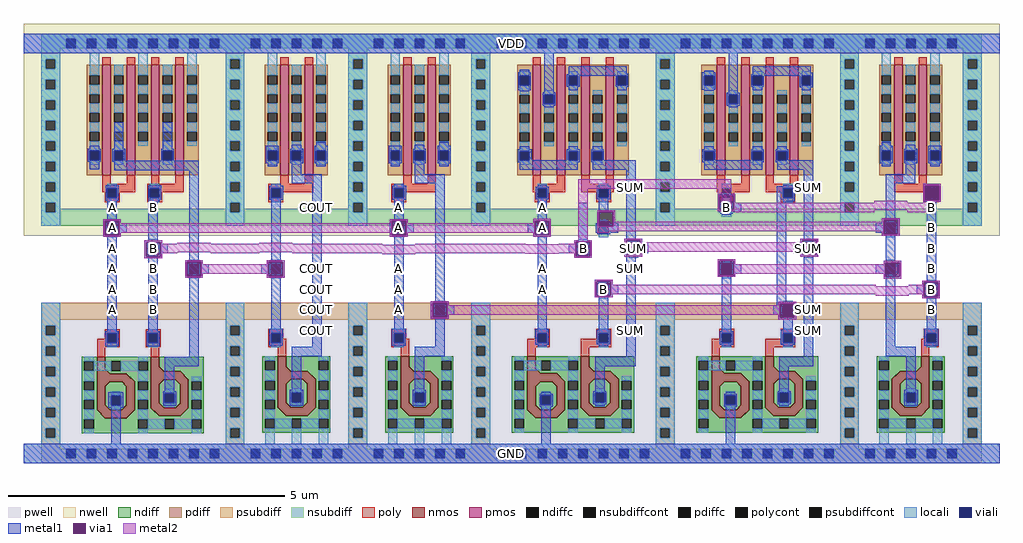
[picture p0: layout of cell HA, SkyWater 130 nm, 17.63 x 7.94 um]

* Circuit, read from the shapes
.subckt HA SUM COUT A B VDD GND
XM1 n1 A GND GND sky130_fd_pr__nfet_01v8 w=2.6 l=0.1483
XM2 n1 B n2 GND sky130_fd_pr__nfet_01v8 w=2.56 l=0.1467
XM3 GND n2 COUT GND sky130_fd_pr__nfet_01v8 w=2.56 l=0.1485
XM4 GND A n3 GND sky130_fd_pr__nfet_01v8 w=2.56 l=0.1464
XM5 n4 A GND GND sky130_fd_pr__nfet_01v8 w=2.6 l=0.1441
XM6 n4 B SUM GND sky130_fd_pr__nfet_01v8 w=2.56 l=0.1465
XM7 n5 n6 GND GND sky130_fd_pr__nfet_01v8 w=2.6 l=0.1486
XM8 n5 n3 SUM GND sky130_fd_pr__nfet_01v8 w=2.56 l=0.1469
XM9 GND B n6 GND sky130_fd_pr__nfet_01v8 w=2.56 l=0.148
XM10 n2 A VDD VDD sky130_fd_pr__pfet_01v8 w=2 l=0.15 m=2
XM11 n2 B VDD VDD sky130_fd_pr__pfet_01v8 w=2 l=0.15 m=2
XM12 COUT n2 VDD VDD sky130_fd_pr__pfet_01v8 w=2 l=0.15 m=2
XM13 n3 A VDD VDD sky130_fd_pr__pfet_01v8 w=2 l=0.15 m=2
XM14 VDD A n7 VDD sky130_fd_pr__pfet_01v8 w=2 l=0.15 m=2
XM15 SUM n6 n7 VDD sky130_fd_pr__pfet_01v8 w=2 l=0.15 m=2
XM16 VDD B n8 VDD sky130_fd_pr__pfet_01v8 w=2 l=0.15 m=2
XM17 SUM n3 n8 VDD sky130_fd_pr__pfet_01v8 w=2 l=0.15 m=2
XM18 n6 B VDD VDD sky130_fd_pr__pfet_01v8 w=2 l=0.15 m=2
.ends

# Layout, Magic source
magic
tech sky130A
magscale 1 2
<< nwell >>
rect 0 895 3526 1588
rect 0 880 1989 895
rect 2001 880 3526 895
rect 0 822 3526 880
<< pwell >>
rect 155 19 189 53
rect 64 0 3462 10
<< psubdiff >>
rect 64 0 3462 10
<< nsubdiff >>
rect 64 1546 3462 1552
<< locali >>
rect 0 1482 3526 1552
rect 0 0 3526 70
<< metal1 >>
rect 0 1482 3526 1552
rect 2177 981 2211 1015
rect 2819 981 2853 1015
rect 303 907 337 941
rect 451 907 485 941
rect 1043 907 1077 941
rect 1339 907 1373 941
rect 1857 907 1891 941
rect 288 876 352 882
rect 288 824 294 876
rect 346 824 352 876
rect 1339 833 1373 867
rect 1857 833 1891 867
rect 288 818 352 824
rect 2005 806 2039 941
rect 2523 907 2557 941
rect 3263 907 3297 941
rect 3263 833 3297 867
rect 437 799 501 805
rect 303 759 337 793
rect 437 747 443 799
rect 495 747 501 799
rect 437 741 501 747
rect 1989 800 2053 806
rect 1989 748 1995 800
rect 2047 748 2053 800
rect 2187 759 2221 793
rect 2819 759 2853 793
rect 3263 759 3297 793
rect 1989 742 2053 748
rect 303 685 337 719
rect 451 685 485 719
rect 1043 685 1077 719
rect 1339 685 1373 719
rect 1857 685 1891 719
rect 2177 685 2211 719
rect 3263 685 3297 719
rect 303 611 337 645
rect 451 611 485 645
rect 1043 611 1077 645
rect 1339 611 1373 645
rect 1857 611 1891 645
rect 2079 611 2113 645
rect 3263 611 3297 645
rect 303 537 337 571
rect 451 537 485 571
rect 1043 537 1077 571
rect 1339 537 1373 571
rect 2819 537 2853 571
rect 3263 537 3297 571
rect 1043 463 1077 497
rect 2177 463 2211 497
rect 2819 463 2853 497
rect 0 0 3526 70
<< via1 >>
rect 294 824 346 876
rect 443 747 495 799
rect 1995 748 2047 800
<< metal2 >>
rect 2005 992 2557 1026
rect 288 876 352 882
rect 288 824 294 876
rect 346 867 352 876
rect 346 833 1327 867
rect 346 824 352 833
rect 288 818 352 824
rect 2005 806 2039 992
rect 2508 965 2557 992
rect 2523 931 2557 965
rect 437 799 501 805
rect 437 747 443 799
rect 495 793 501 799
rect 1989 800 2053 806
rect 556 793 676 796
rect 851 793 971 796
rect 1989 793 1995 800
rect 495 790 1296 793
rect 1416 791 1813 793
rect 1933 791 1995 793
rect 1416 790 1995 791
rect 495 762 1995 790
rect 495 759 556 762
rect 676 759 851 762
rect 971 759 1995 762
rect 495 747 501 759
rect 1296 756 1416 759
rect 1813 757 1933 759
rect 437 741 501 747
rect 1989 748 1995 759
rect 2047 748 2053 800
rect 1989 742 2053 748
use and2x1_pcell  and2x1_pcell_0
transform 1 0 98 0 1 36
box -87 -34 1197 1550
use li1_M1_contact  li1_M1_contact_0
transform -1 0 468 0 -1 776
box -53 -33 29 33
use li1_M1_contact  li1_M1_contact_1
transform -1 0 320 0 -1 850
box -53 -33 29 33
use li1_M1_contact  li1_M1_contact_2
transform 1 0 2022 0 1 776
box -53 -33 29 33
use xor2X1_pcell  xor2X1_pcell_0
transform 1 0 1208 0 1 36
box -87 -34 2307 1550
<< labels >>
rlabel metal1 2819 759 2853 793 1 SUM
port 1 nsew signal output
rlabel metal1 2819 463 2853 497 1 SUM
port 1 nsew signal output
rlabel metal1 2819 537 2853 571 1 SUM
port 1 nsew signal output
rlabel metal1 2819 981 2853 1015 1 SUM
port 1 nsew signal output
rlabel metal1 1043 537 1077 571 1 COUT
port 2 nsew signal output
rlabel metal1 1043 463 1077 497 1 COUT
port 2 nsew signal output
rlabel metal1 1043 685 1077 719 1 COUT
port 2 nsew signal output
rlabel metal1 1043 907 1077 941 1 COUT
port 2 nsew signal output
rlabel metal1 1043 611 1077 645 1 COUT
port 2 nsew signal output
rlabel metal1 303 833 337 867 1 A
port 3 nsew signal input
rlabel metal1 303 907 337 941 1 A
port 3 nsew signal input
rlabel metal1 303 759 337 793 1 A
port 3 nsew signal input
rlabel metal1 303 685 337 719 1 A
port 3 nsew signal input
rlabel metal1 303 611 337 645 1 A
port 3 nsew signal input
rlabel metal1 303 537 337 571 1 A
port 3 nsew signal input
rlabel metal1 1339 907 1373 941 1 A
port 3 nsew signal input
rlabel metal1 1339 833 1373 867 1 A
port 3 nsew signal input
rlabel metal1 1339 685 1373 719 1 A
port 3 nsew signal input
rlabel metal1 1339 611 1373 645 1 A
port 3 nsew signal input
rlabel metal1 1339 537 1373 571 1 A
port 3 nsew signal input
rlabel metal1 1857 907 1891 941 1 A
port 3 nsew signal input
rlabel metal1 1857 833 1891 867 1 A
port 3 nsew signal input
rlabel metal1 1857 685 1891 719 1 A
port 3 nsew signal input
rlabel metal1 1857 611 1891 645 1 A
port 3 nsew signal input
rlabel metal1 451 759 485 793 1 B
port 4 nsew signal input
rlabel metal1 451 685 485 719 1 B
port 4 nsew signal input
rlabel metal1 451 611 485 645 1 B
port 4 nsew signal input
rlabel metal1 451 537 485 571 1 B
port 4 nsew signal input
rlabel metal1 451 907 485 941 1 B
port 4 nsew signal input
rlabel metal1 2005 759 2039 793 1 B
port 4 nsew signal input
rlabel metal1 3263 759 3297 793 1 B
port 4 nsew signal input
rlabel metal1 2079 611 2113 645 1 B
port 4 nsew signal input
rlabel metal1 3263 611 3297 645 1 B
port 4 nsew signal input
rlabel metal1 3263 685 3297 719 1 B
port 4 nsew signal input
rlabel metal1 3263 537 3297 571 1 B
port 4 nsew signal input
rlabel metal1 3263 833 3297 867 1 B
port 4 nsew signal input
rlabel metal1 3263 907 3297 941 1 B
port 4 nsew signal input
rlabel metal1 2523 907 2557 941 1 B
port 4 nsew signal input
rlabel metal1 0 1482 3526 1552 1 VDD
port 5 nsew power bidirectional abutment
rlabel metal1 0 0 3526 70 1 GND
port 6 nsew ground bidirectional abutment
rlabel metal1 2177 685 2211 719 1 SUM
port 1 nsew signal output
rlabel metal1 2177 463 2211 497 1 SUM
port 1 nsew signal output
rlabel metal1 2177 981 2211 1015 1 SUM
port 1 nsew signal output
rlabel metal1 2187 759 2221 793 1 SUM
port 1 nsew signal output
<< properties >>
string FIXED_BBOX 0 0 3526 1552
string LEFclass CORE
string LEFsite unitrh
string LEFsymmetry X Y
<< end >>

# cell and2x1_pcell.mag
magic
tech sky130A
magscale 1 2
<< metal1 >>
rect 486 692 550 698
rect 486 640 492 692
rect 544 640 550 692
rect 486 634 550 640
rect 781 692 845 698
rect 781 640 787 692
rect 839 640 845 692
rect 781 634 845 640
<< via1 >>
rect 492 640 544 692
rect 787 640 839 692
<< metal2 >>
rect 486 692 550 698
rect 486 640 492 692
rect 544 683 550 692
rect 781 692 845 698
rect 781 683 787 692
rect 544 649 787 683
rect 544 640 550 649
rect 486 634 550 640
rect 781 640 787 649
rect 839 640 845 692
rect 781 634 845 640
use invx1_pcell  invx1_pcell_0
transform 1 0 666 0 1 0
box -87 -34 531 1550
use li1_M1_contact  li1_M1_contact_0
transform -1 0 518 0 -1 666
box -53 -33 29 33
use li1_M1_contact  li1_M1_contact_1
transform 1 0 814 0 1 666
box -53 -33 29 33
use nand2x1_pcell  nand2x1_pcell_0
transform 1 0 0 0 1 0
box -87 -34 753 1550
<< end >>

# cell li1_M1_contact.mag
magic
tech sky130A
magscale 1 2
<< locali >>
rect -17 17 17 33
rect -17 -33 17 -17
<< viali >>
rect -17 -17 17 17
<< metal1 >>
rect -23 17 23 23
rect -53 -17 -17 17
rect 17 -17 29 17
rect -23 -23 23 -17
<< end >>

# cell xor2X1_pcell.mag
magic
tech sky130A
magscale 1 2
<< nwell >>
rect 531 1532 1689 1550
rect 528 1514 1026 1532
rect 1194 1514 1692 1532
rect 478 1463 1742 1514
rect 478 1449 1079 1463
rect 1141 1449 1742 1463
rect 478 1446 1076 1449
rect 1144 1446 1742 1449
rect 528 1439 1026 1446
rect 528 968 539 1439
rect 585 1330 619 1364
rect 1015 968 1026 1439
rect 528 825 1026 968
rect 1194 1440 1692 1446
rect 1194 968 1205 1440
rect 1681 968 1692 1440
rect 1194 825 1692 968
rect 2042 905 2055 913
rect 531 786 1689 825
<< pwell >>
rect -31 0 1742 544
rect 1761 0 2251 544
rect 478 -28 1742 0
rect 478 -34 1076 -28
rect 1144 -34 1742 -28
<< pdiffc >>
rect 585 1330 619 1364
rect 761 1330 795 1364
rect 937 1330 971 1364
rect 1251 1330 1285 1364
rect 1427 1330 1461 1364
rect 1603 1330 1637 1364
rect 585 1058 619 1092
rect 761 1058 795 1092
rect 849 1058 883 1092
rect 1251 1058 1285 1092
rect 1427 1058 1461 1092
rect 1515 1058 1549 1092
<< psubdiff >>
rect 478 482 1079 544
rect 1141 482 1742 544
rect 478 -17 501 17
rect 535 -17 575 17
rect 609 -17 649 17
rect 683 -17 723 17
rect 757 -17 797 17
rect 831 -17 871 17
rect 905 -17 945 17
rect 979 -17 1019 17
rect 1053 -17 1079 17
rect 1141 -17 1167 17
rect 1201 -17 1241 17
rect 1275 -17 1315 17
rect 1349 -17 1389 17
rect 1423 -17 1463 17
rect 1497 -17 1537 17
rect 1571 -17 1611 17
rect 1645 -17 1685 17
rect 1719 -17 1742 17
rect 478 -34 1076 -17
rect 1144 -34 1742 -17
<< nsubdiff >>
rect 478 1497 1742 1514
rect 478 1463 501 1497
rect 535 1463 575 1497
rect 609 1463 649 1497
rect 683 1463 723 1497
rect 757 1463 797 1497
rect 831 1463 871 1497
rect 905 1463 945 1497
rect 979 1463 1019 1497
rect 1053 1463 1167 1497
rect 1201 1463 1241 1497
rect 1275 1463 1315 1497
rect 1349 1463 1389 1497
rect 1423 1463 1463 1497
rect 1497 1463 1537 1497
rect 1571 1463 1611 1497
rect 1645 1463 1685 1497
rect 1719 1463 1742 1497
rect 478 822 1079 884
rect 1141 822 1742 884
<< psubdiffcont >>
rect 501 -17 535 17
rect 575 -17 609 17
rect 649 -17 683 17
rect 723 -17 757 17
rect 797 -17 831 17
rect 871 -17 905 17
rect 945 -17 979 17
rect 1019 -17 1053 17
rect 1167 -17 1201 17
rect 1241 -17 1275 17
rect 1315 -17 1349 17
rect 1389 -17 1423 17
rect 1463 -17 1497 17
rect 1537 -17 1571 17
rect 1611 -17 1645 17
rect 1685 -17 1719 17
<< nsubdiffcont >>
rect 501 1463 535 1497
rect 575 1463 609 1497
rect 649 1463 683 1497
rect 723 1463 757 1497
rect 797 1463 831 1497
rect 871 1463 905 1497
rect 945 1463 979 1497
rect 1019 1463 1053 1497
rect 1167 1463 1201 1497
rect 1241 1463 1275 1497
rect 1315 1463 1349 1497
rect 1389 1463 1423 1497
rect 1463 1463 1497 1497
rect 1537 1463 1571 1497
rect 1611 1463 1645 1497
rect 1685 1463 1719 1497
<< poly >>
rect 612 384 639 414
rect 806 384 861 414
rect 1278 384 1305 414
rect 1472 384 1527 414
rect 612 376 642 384
rect 806 383 836 384
rect 1278 376 1308 384
rect 1472 383 1502 384
<< locali >>
rect 478 1497 1769 1514
rect 478 1463 501 1497
rect 535 1463 575 1497
rect 609 1463 649 1497
rect 683 1463 723 1497
rect 757 1463 797 1497
rect 831 1463 871 1497
rect 905 1463 945 1497
rect 979 1463 1019 1497
rect 1053 1463 1167 1497
rect 1201 1463 1241 1497
rect 1275 1463 1315 1497
rect 1349 1463 1389 1497
rect 1423 1463 1463 1497
rect 1497 1463 1537 1497
rect 1571 1463 1611 1497
rect 1645 1463 1685 1497
rect 1719 1463 1769 1497
rect 478 1446 1769 1463
rect 585 1364 619 1380
rect 585 1312 619 1330
rect 761 1364 795 1380
rect 761 1312 795 1330
rect 937 1364 971 1380
rect 937 1312 971 1330
rect 1251 1364 1285 1380
rect 1251 1312 1285 1330
rect 1427 1364 1461 1380
rect 1427 1312 1461 1330
rect 1603 1364 1637 1380
rect 1603 1312 1637 1330
rect 585 1092 619 1126
rect 585 1042 619 1058
rect 761 1092 795 1113
rect 761 1042 795 1058
rect 849 1092 883 1115
rect 849 1042 883 1058
rect 1251 1092 1285 1121
rect 1251 1042 1285 1058
rect 1427 1092 1461 1118
rect 1427 1042 1461 1058
rect 1515 1092 1549 1120
rect 1515 1042 1549 1058
rect 475 17 1815 34
rect 475 -17 501 17
rect 535 -17 575 17
rect 609 -17 649 17
rect 683 -17 723 17
rect 757 -17 797 17
rect 831 -17 871 17
rect 905 -17 945 17
rect 979 -17 1019 17
rect 1053 -17 1167 17
rect 1201 -17 1241 17
rect 1275 -17 1315 17
rect 1349 -17 1389 17
rect 1423 -17 1463 17
rect 1497 -17 1537 17
rect 1571 -17 1611 17
rect 1645 -17 1685 17
rect 1719 -17 1815 17
rect 475 -34 1815 -17
<< viali >>
rect 501 1463 535 1497
rect 575 1463 609 1497
rect 649 1463 683 1497
rect 723 1463 757 1497
rect 797 1463 831 1497
rect 871 1463 905 1497
rect 945 1463 979 1497
rect 1019 1463 1053 1497
rect 1167 1463 1201 1497
rect 1241 1463 1275 1497
rect 1315 1463 1349 1497
rect 1389 1463 1423 1497
rect 1463 1463 1497 1497
rect 1537 1463 1571 1497
rect 1611 1463 1645 1497
rect 1685 1463 1719 1497
rect 585 1330 619 1364
rect 761 1330 795 1364
rect 937 1330 971 1364
rect 1251 1330 1285 1364
rect 1427 1330 1461 1364
rect 1603 1330 1637 1364
rect 673 1262 707 1296
rect 1339 1262 1373 1296
rect 585 1058 619 1092
rect 761 1058 795 1092
rect 849 1058 883 1092
rect 1251 1058 1285 1092
rect 1427 1058 1461 1092
rect 1515 1058 1549 1092
rect 131 923 165 957
rect 649 923 683 957
rect 871 923 905 957
rect 1537 923 1571 957
rect 649 400 683 434
rect 871 400 905 434
rect 1315 400 1349 434
rect 1537 400 1571 434
rect 663 175 697 209
rect 857 184 891 218
rect 1329 175 1363 209
rect 1523 184 1557 218
rect 501 -17 535 17
rect 575 -17 609 17
rect 649 -17 683 17
rect 723 -17 757 17
rect 797 -17 831 17
rect 871 -17 905 17
rect 945 -17 979 17
rect 1019 -17 1053 17
rect 1167 -17 1201 17
rect 1241 -17 1275 17
rect 1315 -17 1349 17
rect 1389 -17 1423 17
rect 1463 -17 1497 17
rect 1537 -17 1571 17
rect 1611 -17 1645 17
rect 1685 -17 1719 17
<< metal1 >>
rect 478 1497 1742 1514
rect 478 1463 501 1497
rect 535 1463 575 1497
rect 609 1463 649 1497
rect 683 1463 723 1497
rect 757 1463 797 1497
rect 831 1463 871 1497
rect 905 1463 945 1497
rect 979 1463 1019 1497
rect 1053 1463 1167 1497
rect 1201 1463 1241 1497
rect 1275 1463 1315 1497
rect 1349 1463 1389 1497
rect 1423 1463 1463 1497
rect 1497 1463 1537 1497
rect 1571 1463 1611 1497
rect 1645 1463 1685 1497
rect 1719 1463 1742 1497
rect 478 1449 1079 1463
rect 1141 1449 1742 1463
rect 478 1446 1076 1449
rect 1144 1446 1742 1449
rect 585 1377 619 1385
rect 579 1364 625 1377
rect 579 1330 585 1364
rect 619 1330 625 1364
rect 579 1312 625 1330
rect 585 1308 619 1312
rect 673 1304 707 1446
rect 761 1371 971 1398
rect 1251 1376 1285 1382
rect 761 1370 977 1371
rect 755 1364 977 1370
rect 755 1330 761 1364
rect 795 1330 801 1364
rect 755 1324 801 1330
rect 931 1330 937 1364
rect 971 1330 977 1364
rect 931 1324 977 1330
rect 1243 1364 1291 1376
rect 1243 1330 1251 1364
rect 1285 1330 1291 1364
rect 761 1312 795 1324
rect 937 1312 971 1324
rect 1243 1314 1291 1330
rect 1251 1309 1285 1314
rect 667 1296 713 1304
rect 1339 1302 1373 1446
rect 1427 1374 1637 1398
rect 1427 1370 1643 1374
rect 1421 1364 1643 1370
rect 1421 1330 1427 1364
rect 1461 1330 1467 1364
rect 1421 1324 1467 1330
rect 1596 1330 1603 1364
rect 1637 1330 1643 1364
rect 1427 1312 1461 1324
rect 1596 1323 1643 1330
rect 1603 1312 1637 1323
rect 667 1262 673 1296
rect 707 1262 713 1296
rect 667 1256 713 1262
rect 1333 1296 1379 1302
rect 1333 1262 1339 1296
rect 1373 1262 1379 1296
rect 1333 1256 1379 1262
rect 673 1250 707 1256
rect 1339 1250 1373 1256
rect 585 1098 619 1110
rect 761 1098 795 1110
rect 849 1098 883 1110
rect 1251 1098 1285 1110
rect 1427 1098 1461 1110
rect 1515 1098 1549 1110
rect 578 1092 629 1098
rect 578 1058 585 1092
rect 619 1058 629 1092
rect 754 1092 802 1098
rect 754 1058 761 1092
rect 795 1058 802 1092
rect 578 1051 802 1058
rect 843 1092 889 1098
rect 843 1058 849 1092
rect 883 1058 889 1092
rect 1245 1092 1291 1098
rect 1245 1058 1251 1092
rect 1285 1058 1291 1092
rect 1421 1092 1467 1098
rect 1421 1058 1427 1092
rect 1461 1058 1467 1092
rect 843 1052 1003 1058
rect 1245 1052 1467 1058
rect 1509 1092 1555 1098
rect 1509 1058 1515 1092
rect 1549 1058 1555 1092
rect 1509 1052 1645 1058
rect 585 1024 795 1051
rect 849 1024 1003 1052
rect 1251 1024 1461 1052
rect 1515 1024 1645 1052
rect 131 967 165 969
rect 124 957 172 967
rect 649 963 683 969
rect 871 966 905 969
rect 124 923 131 957
rect 165 923 172 957
rect 124 917 172 923
rect 643 957 689 963
rect 643 923 649 957
rect 683 923 689 957
rect 643 917 689 923
rect 863 957 913 966
rect 863 923 871 957
rect 905 923 913 957
rect 863 917 913 923
rect 131 846 165 917
rect 649 847 683 917
rect 871 879 905 917
rect 865 873 929 879
rect 116 840 180 846
rect 116 788 122 840
rect 174 788 180 840
rect 116 782 180 788
rect 633 841 697 847
rect 633 789 639 841
rect 691 789 697 841
rect 865 821 871 873
rect 923 821 929 873
rect 865 815 929 821
rect 633 783 697 789
rect 131 724 165 782
rect 264 544 328 550
rect 264 492 270 544
rect 322 492 328 544
rect 264 486 328 492
rect 649 448 683 783
rect 969 775 1003 1024
rect 1537 964 1571 969
rect 1513 957 1578 964
rect 1300 932 1364 938
rect 1300 880 1306 932
rect 1358 880 1364 932
rect 1300 874 1364 880
rect 1513 923 1537 957
rect 1571 923 1578 957
rect 1513 910 1578 923
rect 1315 862 1349 874
rect 963 769 1027 775
rect 963 717 969 769
rect 1021 717 1027 769
rect 969 711 1027 717
rect 856 621 920 627
rect 856 569 862 621
rect 914 609 920 621
rect 914 569 920 575
rect 856 563 920 569
rect 641 434 690 448
rect 871 447 905 563
rect 641 400 649 434
rect 683 400 690 434
rect 641 393 690 400
rect 863 434 912 447
rect 863 400 871 434
rect 905 400 912 434
rect 863 394 912 400
rect 649 388 683 393
rect 871 388 905 394
rect 969 348 1003 711
rect 1300 695 1364 701
rect 1300 643 1306 695
rect 1358 643 1364 695
rect 1300 641 1364 643
rect 1315 441 1349 641
rect 1513 547 1547 910
rect 1611 775 1645 1024
rect 2042 967 2106 973
rect 2042 915 2048 967
rect 2100 915 2106 967
rect 2042 909 2106 915
rect 1907 850 1941 871
rect 1893 844 1957 850
rect 1893 792 1899 844
rect 1951 792 1957 844
rect 1599 769 1661 775
rect 1599 717 1605 769
rect 1657 717 1661 769
rect 1599 711 1661 717
rect 1513 541 1583 547
rect 1513 528 1525 541
rect 1519 489 1525 528
rect 1577 489 1583 541
rect 1519 483 1583 489
rect 1537 446 1571 483
rect 1308 434 1356 441
rect 1308 400 1315 434
rect 1349 400 1356 434
rect 1308 392 1356 400
rect 1528 434 1579 446
rect 1528 400 1537 434
rect 1571 400 1579 434
rect 1528 392 1579 400
rect 1315 388 1349 392
rect 1537 388 1571 392
rect 1611 348 1645 711
rect 1907 695 1941 792
rect 1899 689 1963 695
rect 1899 637 1905 689
rect 1957 637 1963 689
rect 1899 631 1963 637
rect 1907 538 1941 631
rect 2039 618 2103 624
rect 2039 566 2045 618
rect 2097 566 2103 618
rect 2039 560 2103 566
rect 857 314 1003 348
rect 1523 314 1645 348
rect 857 225 891 314
rect 663 216 697 221
rect 851 218 898 225
rect 1523 224 1557 314
rect 657 209 704 216
rect 657 175 663 209
rect 697 175 704 209
rect 851 184 857 218
rect 891 184 898 218
rect 1329 215 1363 221
rect 1517 218 1563 224
rect 851 177 898 184
rect 1323 209 1369 215
rect 657 169 704 175
rect 857 172 891 177
rect 1323 175 1329 209
rect 1363 175 1369 209
rect 1517 184 1523 218
rect 1557 184 1563 218
rect 1517 178 1563 184
rect 1323 169 1369 175
rect 1523 172 1557 178
rect 663 34 697 169
rect 1329 34 1363 169
rect 478 17 1079 34
rect 478 -17 501 17
rect 535 -17 575 17
rect 609 -17 649 17
rect 683 -17 723 17
rect 757 -17 797 17
rect 831 -17 871 17
rect 905 -17 945 17
rect 979 -17 1019 17
rect 1053 -17 1079 17
rect 478 -28 1079 -17
rect 1141 17 1742 34
rect 1141 -17 1167 17
rect 1201 -17 1241 17
rect 1275 -17 1315 17
rect 1349 -17 1389 17
rect 1423 -17 1463 17
rect 1497 -17 1537 17
rect 1571 -17 1611 17
rect 1645 -17 1685 17
rect 1719 -17 1742 17
rect 1141 -28 1742 -17
rect 478 -34 1076 -28
rect 1144 -34 1742 -28
<< via1 >>
rect 122 788 174 840
rect 639 789 691 841
rect 871 821 923 873
rect 270 492 322 544
rect 1306 880 1358 932
rect 969 717 1021 769
rect 862 569 914 621
rect 1306 643 1358 695
rect 2048 915 2100 967
rect 1899 792 1951 844
rect 1605 717 1657 769
rect 1525 489 1577 541
rect 1905 637 1957 689
rect 2045 566 2097 618
<< metal2 >>
rect 2042 967 2106 973
rect 1300 932 1364 938
rect 1300 880 1306 932
rect 1358 905 1364 932
rect 2042 915 2048 967
rect 2100 915 2106 967
rect 1865 906 1985 912
rect 2042 909 2106 915
rect 1837 905 2013 906
rect 2042 905 2085 909
rect 1358 880 2085 905
rect 865 873 929 879
rect 1300 878 2085 880
rect 1300 874 1865 878
rect 116 840 180 846
rect 116 788 122 840
rect 174 831 180 840
rect 633 841 697 847
rect 633 831 639 841
rect 174 797 639 831
rect 174 788 180 797
rect 116 782 180 788
rect 633 789 639 797
rect 691 789 697 841
rect 865 821 871 873
rect 923 837 929 873
rect 1364 871 1865 874
rect 1985 871 2085 878
rect 1893 844 1957 850
rect 1893 837 1899 844
rect 923 821 1899 837
rect 865 803 1899 821
rect 865 797 908 803
rect 633 783 697 789
rect 1893 792 1899 803
rect 1951 792 1957 844
rect 1893 786 1957 792
rect 963 769 1027 775
rect 963 717 969 769
rect 1021 763 1027 769
rect 1599 769 1663 775
rect 1599 763 1605 769
rect 1021 729 1605 763
rect 1021 717 1027 729
rect 963 711 1027 717
rect 1599 717 1605 729
rect 1657 717 1663 769
rect 1599 711 1663 717
rect 1300 695 1364 701
rect 1300 643 1306 695
rect 1358 683 1364 695
rect 1899 689 1963 695
rect 1899 683 1905 689
rect 1358 649 1905 683
rect 1358 643 1364 649
rect 1300 637 1364 643
rect 1899 637 1905 649
rect 1957 637 1963 689
rect 1899 631 1963 637
rect 856 621 920 627
rect 856 569 862 621
rect 914 609 920 621
rect 2039 618 2103 624
rect 2039 609 2045 618
rect 914 603 1871 609
rect 1991 603 2045 609
rect 914 575 2045 603
rect 914 569 920 575
rect 1871 569 1991 575
rect 856 563 920 569
rect 2039 566 2045 575
rect 2097 566 2103 618
rect 2039 560 2103 566
rect 264 544 328 550
rect 264 492 270 544
rect 322 535 328 544
rect 1519 541 1583 547
rect 1519 535 1525 541
rect 322 501 1525 535
rect 322 492 328 501
rect 264 486 328 492
rect 1519 489 1525 501
rect 1577 489 1583 541
rect 1519 483 1583 489
use diff_ring_side  diff_ring_side_0
transform 1 0 1110 0 1 0
box -87 -34 87 1550
use diff_ring_side  diff_ring_side_1
transform 1 0 444 0 1 0
box -87 -34 87 1550
use diff_ring_side  diff_ring_side_3
transform 1 0 1776 0 1 0
box -87 -34 87 1550
use invx1_pcell  invx1_pcell_0
transform 1 0 0 0 1 0
box -87 -34 531 1550
use invx1_pcell  invx1_pcell_1
transform -1 0 2220 0 1 0
box -87 -34 531 1550
use li1_M1_contact  li1_M1_contact_0
transform 1 0 666 0 1 814
box -53 -33 29 33
use li1_M1_contact  li1_M1_contact_1
transform -1 0 148 0 -1 814
box -53 -33 29 33
use li1_M1_contact  li1_M1_contact_2
transform 1 0 2072 0 1 592
box -53 -33 29 33
use li1_M1_contact  li1_M1_contact_3
transform -1 0 888 0 -1 814
box -53 -33 29 33
use li1_M1_contact  li1_M1_contact_4
transform -1 0 296 0 -1 518
box -53 -33 29 33
use li1_M1_contact  li1_M1_contact_5
transform 1 0 1554 0 1 518
box -53 -33 29 33
use li1_M1_contact  li1_M1_contact_6
transform -1 0 1332 0 -1 888
box -53 -33 29 33
use li1_M1_contact  li1_M1_contact_7
transform -1 0 996 0 -1 740
box -53 -33 29 33
use li1_M1_contact  li1_M1_contact_8
transform 1 0 1628 0 1 740
box -53 -33 29 33
use li1_M1_contact  li1_M1_contact_9
transform -1 0 888 0 -1 592
box -53 -33 29 33
use li1_M1_contact  li1_M1_contact_10
transform 1 0 1924 0 1 814
box -53 -33 29 33
use li1_M1_contact  li1_M1_contact_11
transform -1 0 1332 0 -1 666
box -53 -33 29 33
use li1_M1_contact  li1_M1_contact_13
transform 1 0 1924 0 1 666
box -53 -33 29 33
use nmos_bottom  nmos_bottom_0
transform -1 0 804 0 1 74
box 0 0 248 302
use nmos_bottom  nmos_bottom_1
transform -1 0 1470 0 1 74
box 0 0 248 302
use nmos_top_trim1  nmos_top_trim1_0
transform -1 0 998 0 1 74
box 0 0 248 309
use nmos_top_trim1  nmos_top_trim1_1
transform -1 0 1664 0 1 74
box 0 0 248 309
use pmos2_1  pmos2_1_0
transform 1 0 487 0 1 1403
box 52 -460 352 37
use pmos2_1  pmos2_1_1
transform 1 0 663 0 1 1403
box 52 -460 352 37
use pmos2_1  pmos2_1_2
transform 1 0 1153 0 1 1403
box 52 -460 352 37
use pmos2_1  pmos2_1_3
transform 1 0 1329 0 1 1403
box 52 -460 352 37
use poly_li1_contact  poly_li1_contact_0
transform 0 1 667 -1 0 941
box -32 -28 34 26
use poly_li1_contact  poly_li1_contact_1
transform 0 1 667 -1 0 418
box -32 -28 34 26
use poly_li1_contact  poly_li1_contact_2
transform 0 1 889 -1 0 418
box -32 -28 34 26
use poly_li1_contact  poly_li1_contact_3
transform 0 1 889 -1 0 941
box -32 -28 34 26
use poly_li1_contact  poly_li1_contact_4
transform 0 1 1333 -1 0 418
box -32 -28 34 26
use poly_li1_contact  poly_li1_contact_5
transform 0 1 1333 -1 0 941
box -32 -28 34 26
use poly_li1_contact  poly_li1_contact_6
transform 0 1 1555 -1 0 418
box -32 -28 34 26
use poly_li1_contact  poly_li1_contact_7
transform 0 1 1555 -1 0 941
box -32 -28 34 26
<< end >>

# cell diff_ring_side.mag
magic
tech sky130A
magscale 1 2
<< nwell >>
rect -87 786 87 1550
<< pwell >>
rect -34 -34 34 544
<< psubdiff >>
rect -34 461 34 544
rect -34 427 -17 461
rect 17 427 34 461
rect -34 387 34 427
rect -34 353 -17 387
rect 17 353 34 387
rect -34 313 34 353
rect -34 279 -17 313
rect 17 279 34 313
rect -34 239 34 279
rect -34 205 -17 239
rect 17 205 34 239
rect -34 165 34 205
rect -34 131 -17 165
rect 17 131 34 165
rect -34 91 34 131
rect -34 57 -17 91
rect 17 57 34 91
rect -34 -34 34 57
<< nsubdiff >>
rect -34 1423 34 1514
rect -34 1389 -17 1423
rect 17 1389 34 1423
rect -34 1349 34 1389
rect -34 1315 -17 1349
rect 17 1315 34 1349
rect -34 1275 34 1315
rect -34 1241 -17 1275
rect 17 1241 34 1275
rect -34 1201 34 1241
rect -34 1167 -17 1201
rect 17 1167 34 1201
rect -34 1127 34 1167
rect -34 1093 -17 1127
rect 17 1093 34 1127
rect -34 1053 34 1093
rect -34 1019 -17 1053
rect 17 1019 34 1053
rect -34 979 34 1019
rect -34 945 -17 979
rect 17 945 34 979
rect -34 905 34 945
rect -34 871 -17 905
rect 17 871 34 905
rect -34 822 34 871
<< psubdiffcont >>
rect -17 427 17 461
rect -17 353 17 387
rect -17 279 17 313
rect -17 205 17 239
rect -17 131 17 165
rect -17 57 17 91
<< nsubdiffcont >>
rect -17 1389 17 1423
rect -17 1315 17 1349
rect -17 1241 17 1275
rect -17 1167 17 1201
rect -17 1093 17 1127
rect -17 1019 17 1053
rect -17 945 17 979
rect -17 871 17 905
<< locali >>
rect -34 1423 34 1514
rect -34 1389 -17 1423
rect 17 1389 34 1423
rect -34 1349 34 1389
rect -34 1315 -17 1349
rect 17 1315 34 1349
rect -34 1275 34 1315
rect -34 1241 -17 1275
rect 17 1241 34 1275
rect -34 1201 34 1241
rect -34 1167 -17 1201
rect 17 1167 34 1201
rect -34 1127 34 1167
rect -34 1093 -17 1127
rect 17 1093 34 1127
rect -34 1053 34 1093
rect -34 1019 -17 1053
rect 17 1019 34 1053
rect -34 979 34 1019
rect -34 945 -17 979
rect 17 945 34 979
rect -34 905 34 945
rect -34 871 -17 905
rect 17 871 34 905
rect -34 822 34 871
rect -34 461 34 544
rect -34 427 -17 461
rect 17 427 34 461
rect -34 387 34 427
rect -34 353 -17 387
rect 17 353 34 387
rect -34 313 34 353
rect -34 279 -17 313
rect 17 279 34 313
rect -34 239 34 279
rect -34 205 -17 239
rect 17 205 34 239
rect -34 165 34 205
rect -34 131 -17 165
rect 17 131 34 165
rect -34 91 34 131
rect -34 57 -17 91
rect 17 57 34 91
rect -34 -34 34 57
<< metal1 >>
rect -34 1446 34 1514
rect -34 -34 34 34
<< end >>

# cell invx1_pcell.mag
magic
tech sky130A
magscale 1 2
<< nwell >>
rect -87 786 531 1550
<< pwell >>
rect -34 -34 478 544
<< pdiffc >>
rect 118 1059 152 1093
rect 206 1059 240 1093
rect 294 1059 328 1093
<< psubdiff >>
rect 34 482 410 544
rect 34 -17 57 17
rect 91 -17 131 17
rect 165 -17 205 17
rect 239 -17 279 17
rect 313 -17 353 17
rect 387 -17 410 17
rect 34 -34 410 -17
<< nsubdiff >>
rect 34 1497 410 1514
rect 34 1463 57 1497
rect 91 1463 131 1497
rect 165 1463 205 1497
rect 239 1463 279 1497
rect 313 1463 353 1497
rect 387 1463 410 1497
rect 34 822 410 884
<< psubdiffcont >>
rect 57 -17 91 17
rect 131 -17 165 17
rect 205 -17 239 17
rect 279 -17 313 17
rect 353 -17 387 17
<< nsubdiffcont >>
rect 57 1463 91 1497
rect 131 1463 165 1497
rect 205 1463 239 1497
rect 279 1463 313 1497
rect 353 1463 387 1497
<< poly >>
rect 155 381 185 413
<< locali >>
rect -34 1497 478 1514
rect -34 1463 57 1497
rect 91 1463 131 1497
rect 165 1463 205 1497
rect 239 1463 279 1497
rect 313 1463 353 1497
rect 387 1463 478 1497
rect -34 1446 478 1463
rect 118 1093 152 1117
rect 118 1043 152 1059
rect 206 1093 240 1117
rect 206 1043 240 1059
rect 294 1093 328 1117
rect 294 1043 328 1059
rect 109 34 143 84
rect 205 34 239 90
rect 303 34 337 90
rect -34 17 466 34
rect -34 -17 57 17
rect 91 -17 131 17
rect 165 -17 205 17
rect 239 -17 279 17
rect 313 -17 353 17
rect 387 -17 466 17
rect -34 -34 466 -17
<< viali >>
rect 57 1463 91 1497
rect 131 1463 165 1497
rect 205 1463 239 1497
rect 279 1463 313 1497
rect 353 1463 387 1497
rect 118 1059 152 1093
rect 206 1059 240 1093
rect 294 1059 328 1093
rect 131 923 165 957
rect 131 400 165 434
rect 205 184 239 218
rect 57 -17 91 17
rect 131 -17 165 17
rect 205 -17 239 17
rect 279 -17 313 17
rect 353 -17 387 17
<< metal1 >>
rect -34 1497 478 1514
rect -34 1463 57 1497
rect 91 1463 131 1497
rect 165 1463 205 1497
rect 239 1463 279 1497
rect 313 1463 353 1497
rect 387 1463 478 1497
rect -34 1446 478 1463
rect 112 1093 159 1111
rect 206 1101 240 1115
rect 294 1111 328 1124
rect 112 1059 118 1093
rect 152 1059 159 1093
rect 112 1048 159 1059
rect 200 1093 246 1101
rect 200 1059 206 1093
rect 240 1059 246 1093
rect 200 1048 246 1059
rect 288 1093 335 1111
rect 288 1059 294 1093
rect 328 1059 335 1093
rect 288 1048 335 1059
rect 118 1037 152 1048
rect 206 1009 240 1048
rect 294 1037 328 1048
rect 206 975 313 1009
rect 131 966 165 973
rect 124 957 174 966
rect 124 923 131 957
rect 165 923 174 957
rect 124 916 174 923
rect 131 450 165 916
rect 123 434 173 450
rect 123 400 131 434
rect 165 400 173 434
rect 123 388 173 400
rect 279 385 313 975
rect 205 351 313 385
rect 205 230 239 351
rect 198 218 246 230
rect 198 184 205 218
rect 239 184 246 218
rect 198 172 246 184
rect -34 17 478 34
rect -34 -17 57 17
rect 91 -17 131 17
rect 165 -17 205 17
rect 239 -17 279 17
rect 313 -17 353 17
rect 387 -17 478 17
rect -34 -34 478 -17
use diff_ring_side  diff_ring_side_0
transform 1 0 444 0 1 0
box -87 -34 87 1550
use diff_ring_side  diff_ring_side_1
transform 1 0 0 0 1 0
box -87 -34 87 1550
use nmos_top  nmos_top_0
transform -1 0 345 0 1 74
box 0 0 246 308
use pmos2  pmos2_0
transform 1 0 20 0 1 1404
box 52 -461 352 42
use poly_li1_contact  poly_li1_contact_0
transform 0 1 149 -1 0 941
box -32 -28 34 26
use poly_li1_contact  poly_li1_contact_1
transform 0 -1 147 1 0 416
box -32 -28 34 26
<< end >>

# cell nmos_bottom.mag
magic
tech sky130A
magscale 1 2
<< nmos >>
tri 146 215 162 231 se
rect 162 215 192 276
tri 56 185 86 215 se
rect 86 185 192 215
rect 56 84 86 185
tri 86 169 102 185 nw
tri 146 169 162 185 ne
tri 86 84 102 100 sw
tri 146 84 162 100 se
rect 162 84 192 185
tri 56 54 86 84 ne
rect 86 54 162 84
tri 162 54 192 84 nw
<< ndiff >>
rect 0 260 162 276
rect 0 226 10 260
rect 44 226 107 260
rect 141 231 162 260
rect 141 226 146 231
rect 0 215 146 226
tri 146 215 162 231 nw
rect 192 260 248 276
rect 192 226 204 260
rect 238 226 248 260
rect 0 188 56 215
rect 0 154 10 188
rect 44 154 56 188
tri 56 185 86 215 nw
rect 192 188 248 226
rect 0 120 56 154
rect 0 86 10 120
rect 44 86 56 120
rect 0 54 56 86
tri 86 169 102 185 se
rect 102 169 146 185
tri 146 169 162 185 sw
rect 86 135 162 169
rect 86 101 107 135
rect 141 101 162 135
rect 86 100 162 101
tri 86 84 102 100 ne
rect 102 84 146 100
tri 146 84 162 100 nw
rect 192 154 204 188
rect 238 154 248 188
rect 192 120 248 154
rect 192 86 204 120
rect 238 86 248 120
tri 56 54 86 84 sw
tri 162 54 192 84 se
rect 192 54 248 86
rect 0 50 248 54
rect 0 16 10 50
rect 44 16 204 50
rect 238 16 248 50
rect 0 0 248 16
<< ndiffc >>
rect 10 226 44 260
rect 107 226 141 260
rect 204 226 238 260
rect 10 154 44 188
rect 10 86 44 120
rect 107 101 141 135
rect 204 154 238 188
rect 204 86 238 120
rect 10 16 44 50
rect 204 16 238 50
<< poly >>
rect 162 276 192 302
<< locali >>
rect 10 260 44 276
rect 204 260 238 276
rect 44 226 107 260
rect 141 226 204 260
rect 10 188 44 226
rect 10 120 44 154
rect 204 188 238 226
rect 10 50 44 86
rect 107 135 141 151
rect 107 85 141 101
rect 204 120 238 154
rect 10 0 44 16
rect 204 50 238 86
rect 204 0 238 16
<< end >>

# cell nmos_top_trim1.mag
magic
tech sky130
magscale 1 2
<< nmos >>
tri 146 223 162 239 se
rect 162 223 192 276
tri 56 193 86 223 se
rect 86 193 192 223
rect 56 92 86 193
tri 86 177 102 193 nw
tri 146 177 162 193 ne
tri 86 92 102 108 sw
tri 146 92 162 108 se
rect 162 92 192 193
tri 56 62 86 92 ne
rect 86 62 162 92
tri 162 62 192 92 nw
<< ndiff >>
rect 0 239 162 276
rect 0 223 146 239
tri 146 223 162 239 nw
rect 192 260 248 276
rect 192 226 204 260
rect 238 226 248 260
rect 0 188 56 223
tri 56 193 86 223 nw
rect 0 154 10 188
rect 44 154 56 188
rect 0 120 56 154
rect 0 86 10 120
rect 44 86 56 120
tri 86 177 102 193 se
rect 102 177 146 193
tri 146 177 162 193 sw
rect 86 144 162 177
rect 86 110 107 144
rect 141 110 162 144
rect 86 108 162 110
tri 86 92 102 108 ne
rect 102 92 146 108
tri 146 92 162 108 nw
rect 192 188 248 226
rect 192 154 204 188
rect 238 154 248 188
rect 192 120 248 154
rect 0 62 56 86
tri 56 62 86 92 sw
tri 162 62 192 92 se
rect 192 86 204 120
rect 238 86 248 120
rect 192 62 248 86
rect 0 50 248 62
rect 0 16 10 50
rect 44 16 107 50
rect 141 16 204 50
rect 238 16 248 50
rect 0 0 248 16
<< ndiffc >>
rect 204 226 238 260
rect 10 154 44 188
rect 10 86 44 120
rect 107 110 141 144
rect 204 154 238 188
rect 204 86 238 120
rect 10 16 44 50
rect 107 16 141 50
rect 204 16 238 50
<< poly >>
rect 162 276 192 309
<< locali >>
rect 204 260 238 276
rect 10 188 44 204
rect 204 188 238 226
rect 10 120 44 154
rect 107 144 141 161
rect 107 94 141 110
rect 204 120 238 154
rect 10 50 44 86
rect 204 50 238 86
rect 44 16 107 50
rect 141 16 204 50
rect 10 0 44 16
rect 204 0 238 16
<< end >>

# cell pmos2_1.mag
magic
tech sky130A
magscale 1 2
<< nwell >>
rect 52 -435 352 37
<< pmos >>
rect 144 -399 174 1
rect 232 -399 262 1
<< pdiff >>
rect 88 -107 144 1
rect 88 -141 98 -107
rect 132 -141 144 -107
rect 88 -175 144 -141
rect 88 -209 98 -175
rect 132 -209 144 -175
rect 88 -243 144 -209
rect 88 -277 98 -243
rect 132 -277 144 -243
rect 88 -399 144 -277
rect 174 -107 232 1
rect 174 -141 186 -107
rect 220 -141 232 -107
rect 174 -175 232 -141
rect 174 -209 186 -175
rect 220 -209 232 -175
rect 174 -243 232 -209
rect 174 -277 186 -243
rect 220 -277 232 -243
rect 174 -399 232 -277
rect 262 -107 316 1
rect 262 -141 274 -107
rect 308 -141 316 -107
rect 262 -175 316 -141
rect 262 -209 274 -175
rect 308 -209 316 -175
rect 262 -243 316 -209
rect 262 -277 274 -243
rect 308 -277 316 -243
rect 262 -399 316 -277
<< pdiffc >>
rect 98 -141 132 -107
rect 98 -209 132 -175
rect 98 -277 132 -243
rect 186 -141 220 -107
rect 186 -209 220 -175
rect 186 -277 220 -243
rect 274 -141 308 -107
rect 274 -209 308 -175
rect 274 -277 308 -243
<< poly >>
rect 144 1 174 27
rect 232 1 262 27
rect 144 -430 174 -399
rect 232 -430 262 -399
rect 144 -460 262 -430
<< locali >>
rect 98 -107 132 -91
rect 98 -175 132 -141
rect 98 -243 132 -209
rect 98 -293 132 -277
rect 186 -107 220 -91
rect 186 -175 220 -141
rect 186 -243 220 -209
rect 186 -293 220 -277
rect 274 -107 308 -91
rect 274 -175 308 -141
rect 274 -243 308 -209
rect 274 -293 308 -277
<< end >>

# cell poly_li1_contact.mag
magic
tech sky130
<< poly >>
rect -16 8 17 13
rect -16 -9 -8 8
rect 9 -9 17 8
rect -16 -14 17 -9
<< polycont >>
rect -8 -9 9 8
<< locali >>
rect -16 -9 -8 8
rect 9 -9 17 8
<< end >>

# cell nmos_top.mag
magic
tech sky130
magscale 1 2
<< nmos >>
tri 144 223 160 239 se
rect 160 223 190 276
tri 54 193 84 223 se
rect 84 193 190 223
rect 54 92 84 193
tri 84 177 100 193 nw
tri 144 177 160 193 ne
tri 84 92 100 108 sw
tri 144 92 160 108 se
rect 160 92 190 193
tri 54 62 84 92 ne
rect 84 62 160 92
tri 160 62 190 92 nw
<< ndiff >>
rect 0 260 160 276
rect 0 226 8 260
rect 42 239 160 260
rect 42 226 144 239
rect 0 223 144 226
tri 144 223 160 239 nw
rect 190 260 246 276
rect 190 226 202 260
rect 236 226 246 260
rect 0 188 54 223
tri 54 193 84 223 nw
rect 0 154 8 188
rect 42 154 54 188
rect 0 120 54 154
rect 0 86 8 120
rect 42 86 54 120
tri 84 177 100 193 se
rect 100 177 144 193
tri 144 177 160 193 sw
rect 84 144 160 177
rect 84 110 106 144
rect 140 110 160 144
rect 84 108 160 110
tri 84 92 100 108 ne
rect 100 92 144 108
tri 144 92 160 108 nw
rect 190 188 246 226
rect 190 154 202 188
rect 236 154 246 188
rect 190 120 246 154
rect 0 62 54 86
tri 54 62 84 92 sw
tri 160 62 190 92 se
rect 190 86 202 120
rect 236 86 246 120
rect 190 62 246 86
rect 0 50 246 62
rect 0 16 8 50
rect 42 16 106 50
rect 140 16 202 50
rect 236 16 246 50
rect 0 0 246 16
<< ndiffc >>
rect 8 226 42 260
rect 202 226 236 260
rect 8 154 42 188
rect 8 86 42 120
rect 106 110 140 144
rect 202 154 236 188
rect 202 86 236 120
rect 8 16 42 50
rect 106 16 140 50
rect 202 16 236 50
<< poly >>
rect 160 276 190 308
<< locali >>
rect 8 260 42 276
rect 8 188 42 226
rect 202 260 236 276
rect 202 188 236 226
rect 8 120 42 154
rect 106 144 140 161
rect 106 94 140 110
rect 202 120 236 154
rect 8 50 42 86
rect 202 50 236 86
rect 42 16 106 50
rect 140 16 202 50
rect 8 0 42 16
rect 202 0 236 16
<< end >>

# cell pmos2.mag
magic
tech sky130A
magscale 1 2
<< nwell >>
rect 52 -436 352 36
<< pmos >>
rect 144 -400 174 0
rect 232 -400 262 0
<< pdiff >>
rect 88 -38 144 0
rect 88 -72 98 -38
rect 132 -72 144 -38
rect 88 -106 144 -72
rect 88 -140 98 -106
rect 132 -140 144 -106
rect 88 -174 144 -140
rect 88 -208 98 -174
rect 132 -208 144 -174
rect 88 -242 144 -208
rect 88 -276 98 -242
rect 132 -276 144 -242
rect 88 -400 144 -276
rect 174 -38 232 0
rect 174 -72 186 -38
rect 220 -72 232 -38
rect 174 -106 232 -72
rect 174 -140 186 -106
rect 220 -140 232 -106
rect 174 -174 232 -140
rect 174 -208 186 -174
rect 220 -208 232 -174
rect 174 -242 232 -208
rect 174 -276 186 -242
rect 220 -276 232 -242
rect 174 -400 232 -276
rect 262 -38 316 0
rect 262 -72 274 -38
rect 308 -72 316 -38
rect 262 -106 316 -72
rect 262 -140 274 -106
rect 308 -140 316 -106
rect 262 -174 316 -140
rect 262 -208 274 -174
rect 308 -208 316 -174
rect 262 -242 316 -208
rect 262 -276 274 -242
rect 308 -276 316 -242
rect 262 -400 316 -276
<< pdiffc >>
rect 98 -72 132 -38
rect 98 -140 132 -106
rect 98 -208 132 -174
rect 98 -276 132 -242
rect 186 -72 220 -38
rect 186 -140 220 -106
rect 186 -208 220 -174
rect 186 -276 220 -242
rect 274 -72 308 -38
rect 274 -140 308 -106
rect 274 -208 308 -174
rect 274 -276 308 -242
<< poly >>
rect 144 0 174 26
rect 232 0 262 26
rect 144 -431 174 -400
rect 232 -431 262 -400
rect 144 -461 262 -431
<< locali >>
rect 98 -38 132 42
rect 98 -106 132 -72
rect 98 -174 132 -140
rect 98 -242 132 -208
rect 98 -293 132 -276
rect 186 -38 220 0
rect 186 -106 220 -72
rect 186 -174 220 -140
rect 186 -242 220 -208
rect 186 -293 220 -276
rect 274 -38 308 42
rect 274 -106 308 -72
rect 274 -174 308 -140
rect 274 -242 308 -208
rect 274 -293 308 -276
<< end >>

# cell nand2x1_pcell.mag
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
